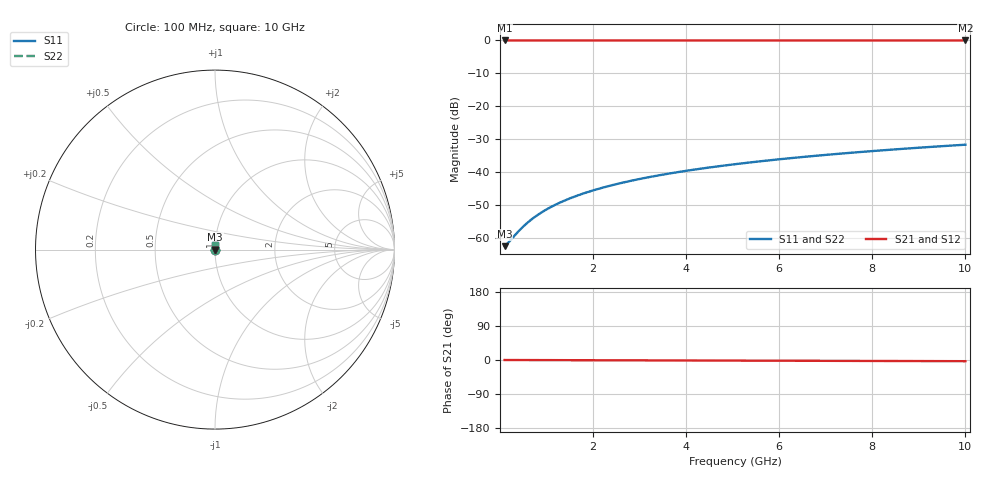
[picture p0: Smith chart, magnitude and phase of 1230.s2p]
# Hz S RI R 50.00
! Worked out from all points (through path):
!   100 points, 100 MHz to 10 GHz, reference 50 ohm
!   highest |S21| = -0.01 dB at 100 MHz (marker M1); lowest = 0.0 dB at 10 GHz (marker M2)
!   lowest |S11| = -62.6 dB at 100 MHz (marker M3), VSWR 1.00, Z = 50.1 + j0.0259 ohm
!   |S11| at or under -10 dB: start of sweep to end of sweep
!   |S22| runs from -62.6 to -31.7 dB; largest |S21 - S12| = 0
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1e8  0.000695 0.000258  0.9993 -0.000551  0.9993 -0.000551  0.000695 0.000258
2e8  0.0007 0.000517  0.9993 -0.0011  0.9993 -0.0011  0.0007 0.000517
4e8  0.000708 0.00103  0.9993 -0.0022  0.9993 -0.0022  0.000708 0.00103
5e8  0.000711 0.00129  0.9993 -0.00275  0.9993 -0.00275  0.000711 0.00129
6e8  0.000715 0.00155  0.9993 -0.0033  0.9993 -0.0033  0.000715 0.00155
7e8  0.000718 0.00181  0.9993 -0.00385  0.9993 -0.00385  0.000718 0.00181
8e8  0.000722 0.00207  0.9993 -0.00441  0.9993 -0.00441  0.000722 0.00207
1e9  0.00073 0.00258  0.9993 -0.00551  0.9993 -0.00551  0.00073 0.00258
1.2e9  0.000739 0.0031  0.9993 -0.00661  0.9993 -0.00661  0.000739 0.0031
1.5e9  0.000754 0.00388  0.9992 -0.00826  0.9992 -0.00826  0.000754 0.00388
1.8e9  0.000771 0.00465  0.9992 -0.00991  0.9992 -0.00991  0.000771 0.00465
2.1e9  0.00079 0.00542  0.9992 -0.0116  0.9992 -0.0116  0.00079 0.00542
2.5e9  0.000819 0.00646  0.9991 -0.0138  0.9991 -0.0138  0.000819 0.00646
2.9e9  0.000853 0.00749  0.9991 -0.016  0.9991 -0.016  0.000853 0.00749
3.4e9  0.000901 0.00878  0.999 -0.0187  0.999 -0.0187  0.000901 0.00878
4.2e9  0.000993 0.0108  0.9989 -0.0231  0.9989 -0.0231  0.000993 0.0108
5.1e9  0.00112 0.0132  0.9988 -0.0281  0.9988 -0.0281  0.00112 0.0132
5.9e9  0.00125 0.0152  0.9986 -0.0325  0.9986 -0.0325  0.00125 0.0152
6.7e9  0.0014 0.0173  0.9984 -0.0369  0.9984 -0.0369  0.0014 0.0173
7.5e9  0.00156 0.0194  0.9982 -0.0414  0.9982 -0.0414  0.00156 0.0194
8.4e9  0.00177 0.0217  0.9979 -0.0463  0.9979 -0.0463  0.00177 0.0217
1e10  0.0022 0.0258  0.9973 -0.0552  0.9973 -0.0552  0.0022 0.0258
